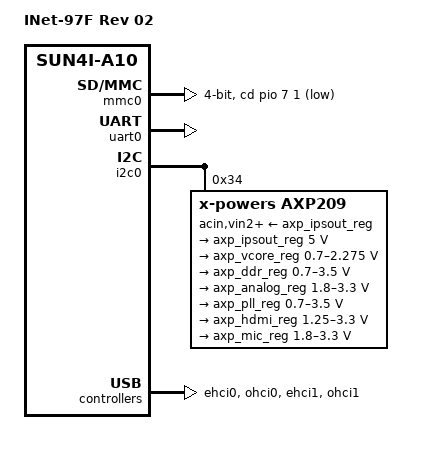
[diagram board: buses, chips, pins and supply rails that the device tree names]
/*
 * Copyright 2014 Open Source Support GmbH
 *
 * David Lanzendörfer <david.lanzendoerfer@o2s.ch>
 *
 * The code contained herein is licensed under the GNU General Public
 * License. You may obtain a copy of the GNU General Public License
 * Version 2 or later at the following locations:
 *
 * http://www.opensource.org/licenses/gpl-license.html
 * http://www.gnu.org/copyleft/gpl.html
 */

/dts-v1/;
/include/ "sun4i-a10.dtsi"
/include/ "sunxi-common-regulators.dtsi"

/ {
	model = "INet-97F Rev 02";
	compatible = "primux,inet97fv2", "allwinner,sun4i-a10";

	aliases {
		serial0 = &uart0;
	};

	soc@01c00000 {
		mmc0: mmc@01c0f000 {
			pinctrl-names = "default";
			pinctrl-0 = <&mmc0_pins_a>, <&mmc0_cd_pin_a>;
			bus-width = <4>;
			cd-gpios = <&pio 7 1 0>; /* PH1 */
			cd-inverted;
			status = "okay";
		};

		uart0: serial@01c28000 {
			pinctrl-names = "default";
			pinctrl-0 = <&uart0_pins_a>;
			status = "okay";
		};

		i2c0: i2c@01c2ac00 {
			pinctrl-names = "default";
			pinctrl-0 = <&i2c0_pins_a>;
			status = "okay";
			#address-cells = <1>;
			#size-cells = <0>;

			axp209: pmic@34 {
				compatible = "x-powers,axp209";
				reg = <0x34>;
				interrupts = <0>;

				interrupt-controller;
				#interrupt-cells = <1>;

				acin-supply = <&axp_ipsout_reg>;
				vin2-supply = <&axp_ipsout_reg>;
				vin3-supply = <&axp_ipsout_reg>;
				ldo24in-supply = <&axp_ipsout_reg>;
				ldo3in-supply = <&axp_ipsout_reg>;
				ldo5in-supply = <&axp_ipsout_reg>;

				regulators {
					compatible = "x-powers,axp20x-reg";

					x-powers,dcdc-freq = <1500>;

					axp_ipsout_reg: axp_ipsout {
						compatible = "regulator-fixed";
						regulator-name = "axp-ipsout";
						regulator-min-microvolt = <5000000>;
						regulator-max-microvolt = <5000000>;
						regulator-always-on;
					};

					axp_vcore_reg: dcdc2 {
						regulator-min-microvolt = <700000>;
						regulator-max-microvolt = <2275000>;
						regulator-always-on;
					};

					axp_ddr_reg: dcdc3 {
						regulator-min-microvolt = <700000>;
						regulator-max-microvolt = <3500000>;
						regulator-always-on;
					};

					axp_rtc_reg: ldo1 {
						regulator-always-on;
					};

					axp_analog_reg: ldo2 {
						regulator-min-microvolt = <1800000>;
						regulator-max-microvolt = <3300000>;
						regulator-always-on;
					};

					axp_pll_reg: ldo3 {
						regulator-min-microvolt = <700000>;
						regulator-max-microvolt = <3500000>;
					};

					axp_hdmi_reg: ldo4 {
						regulator-min-microvolt = <1250000>;
						regulator-max-microvolt = <3300000>;
					};

					axp_mic_reg: ldo5 {
						regulator-min-microvolt = <1800000>;
						regulator-max-microvolt = <3300000>;
					};
				};
			};
		};

		usbphy: phy@01c13400 {
			usb1_vbus-supply = <&reg_usb1_vbus>;
			usb2_vbus-supply = <&reg_usb2_vbus>;
			status = "okay";
		};

		ehci0: usb@01c14000 {
			status = "okay";
		};

		ohci0: usb@01c14400 {
			status = "okay";
		};

		ehci1: usb@01c1c000 {
			status = "okay";
		};

		ohci1: usb@01c1c400 {
			status = "okay";
		};
	};

	reg_usb1_vbus: usb1-vbus {
		status = "okay";
	};

	reg_usb2_vbus: usb2-vbus {
		status = "okay";
	};
};
